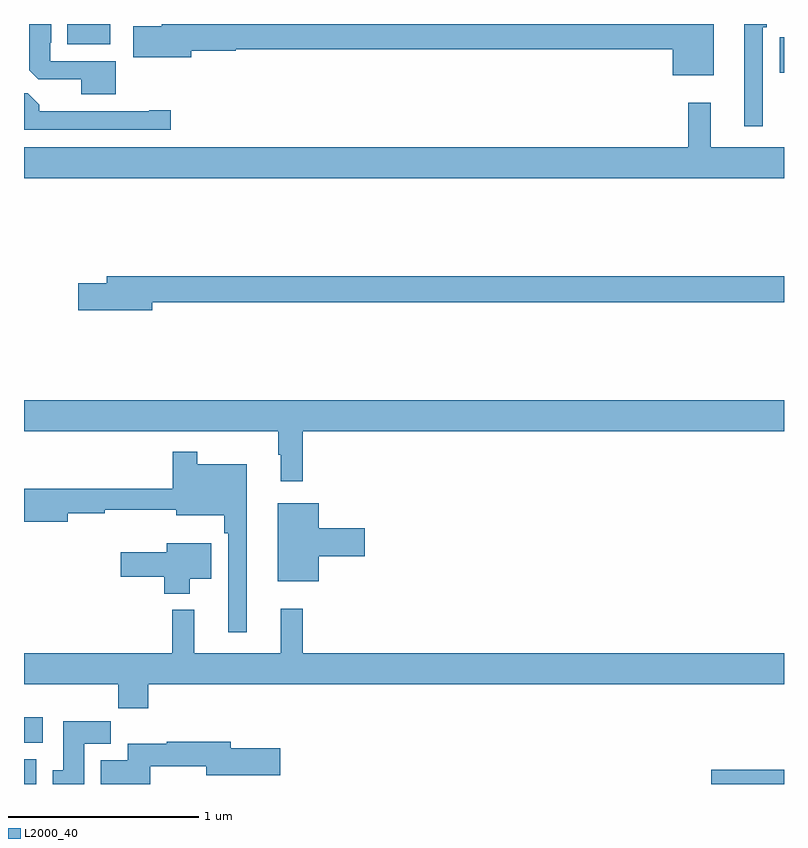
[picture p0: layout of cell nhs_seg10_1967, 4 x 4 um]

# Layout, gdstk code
import gdstk
lib = gdstk.Library(unit=1e-6, precision=1e-09)
def R(c, l, rs):  # rectangles x0, y0, x1, y1
    for r in rs: c.add(gdstk.rectangle(r[:2], r[2:], *l))
def P(c, l, *ps):  # polygons
    for p in ps: c.add(gdstk.Polygon(p, *l))
L2000_40 = (2000, 40)

nhs_seg10_1967 = lib.new_cell('nhs_seg10_1967')
R(nhs_seg10_1967, L2000_40, [(215,1258.5,215.065,1258.63), (218.616,1258.5,219,1258.575), (215,1258.718,215.098,1258.852), (218.978,1262.243,219,1262.431), (215.228,1262.393,215.455,1262.5)])
P(nhs_seg10_1967, L2000_40, [(215.483,1262.304),(215.139,1262.304),(215.139,1262.401),(215.143,1262.401),(215.143,1262.5),(215.027,1262.5),(215.027,1262.257),(215.076,1262.208),(215.3,1262.208),(215.3,1262.129),(215.483,1262.129)],
  [(218.889,1262.483),(218.909,1262.483),(218.909,1262.5),(218.792,1262.5),(218.792,1261.962),(218.889,1261.962)],
  [(218.629,1262.5),(215.726,1262.5),(215.726,1262.487),(215.574,1262.487),(215.574,1262.324),(215.881,1262.324),(215.881,1262.36),(216.114,1262.36),(216.114,1262.368),(218.414,1262.368),(218.414,1262.231),(218.629,1262.231)],
  [(215.773,1262.045),(215.66,1262.045),(215.66,1262.04),(215.081,1262.04),(215.081,1262.074),(215.019,1262.136),(215,1262.136),(215,1261.944),(215.773,1261.944)],
  [(219,1261.852),(218.615,1261.852),(218.615,1262.086),(218.497,1262.086),(218.497,1261.852),(215,1261.852),(215,1261.688),(219,1261.688)],
  [(215.674,1261.036),(219,1261.036),(219,1261.172),(215.435,1261.172),(215.435,1261.136),(215.286,1261.136),(215.286,1260.994),(215.674,1260.994)],
  [(216.467,1260.356),(219,1260.356),(219,1260.52),(215,1260.52),(215,1260.356),(216.339,1260.356),(216.339,1260.233),(216.35,1260.233),(216.35,1260.093),(216.467,1260.093)],
  [(216.172,1260.184),(215.911,1260.184),(215.911,1260.25),(215.782,1260.25),(215.782,1260.055),(215,1260.055),(215,1259.879),(215.23,1259.879),(215.23,1259.926),(215.426,1259.926),(215.426,1259.944),(215.801,1259.944),(215.801,1259.915),(216.055,1259.915),(216.055,1259.819),(216.075,1259.819),(216.075,1259.298),(216.172,1259.298)],
  [(216.55,1259.699),(216.793,1259.699),(216.793,1259.846),(216.55,1259.846),(216.55,1259.977),(216.335,1259.977),(216.335,1259.567),(216.55,1259.567)],
  [(215.872,1259.579),(215.986,1259.579),(215.986,1259.767),(215.75,1259.767),(215.75,1259.719),(215.508,1259.719),(215.508,1259.59),(215.738,1259.59),(215.738,1259.501),(215.872,1259.501)],
  [(215.654,1259.024),(219,1259.024),(219,1259.188),(216.467,1259.188),(216.467,1259.422),(216.35,1259.422),(216.35,1259.188),(215.897,1259.188),(215.897,1259.416),(215.779,1259.416),(215.779,1259.188),(215,1259.188),(215,1259.024),(215.497,1259.024),(215.497,1258.9),(215.654,1258.9)],
  [(215.317,1258.712),(215.456,1258.712),(215.456,1258.831),(215.207,1258.831),(215.207,1258.572),(215.15,1258.572),(215.15,1258.5),(215.317,1258.5)],
  [(215.664,1258.594),(215.96,1258.594),(215.96,1258.547),(216.349,1258.547),(216.349,1258.689),(216.088,1258.689),(216.088,1258.723),(215.752,1258.723),(215.752,1258.712),(215.546,1258.712),(215.546,1258.624),(215.405,1258.624),(215.405,1258.5),(215.664,1258.5)])

lib.write_gds('nhs_seg10_1967.gds')
